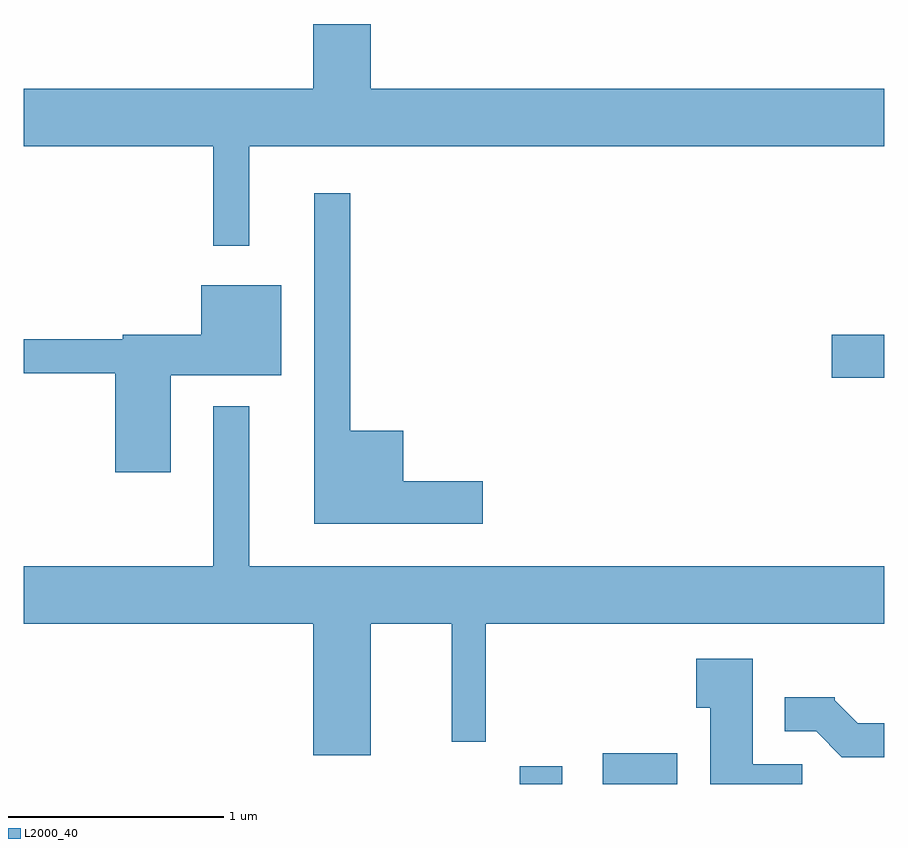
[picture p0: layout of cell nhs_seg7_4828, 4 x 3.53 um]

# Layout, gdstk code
import gdstk
lib = gdstk.Library(unit=1e-6, precision=1e-09)
def R(c, l, rs):  # rectangles x0, y0, x1, y1
    for r in rs: c.add(gdstk.rectangle(r[:2], r[2:], *l))
def P(c, l, *ps):  # polygons
    for p in ps: c.add(gdstk.Polygon(p, *l))
L2000_40 = (2000, 40)

nhs_seg7_4828 = lib.new_cell('nhs_seg7_4828')
R(nhs_seg7_4828, L2000_40, [(335.916,1700.252,336.114,1700.334), (336.303,1700.252,336.649,1700.394), (337.366,1702.141,337.611,1702.339)])
P(nhs_seg7_4828, L2000_40, [(334.659,1703.216),(337.611,1703.216),(337.611,1703.484),(335.224,1703.484),(335.224,1703.784),(334.956,1703.784),(334.956,1703.484),(333.611,1703.484),(333.611,1703.216),(334.491,1703.216),(334.491,1702.753),(334.659,1702.753)],
  [(335.744,1701.659),(335.374,1701.659),(335.374,1701.894),(335.129,1701.894),(335.129,1702.998),(334.961,1702.998),(334.961,1701.461),(335.744,1701.461)],
  [(334.294,1702.151),(334.809,1702.151),(334.809,1702.569),(334.436,1702.569),(334.436,1702.339),(334.071,1702.339),(334.071,1702.319),(333.611,1702.319),(333.611,1702.161),(334.036,1702.161),(334.036,1701.701),(334.294,1701.701)],
  [(335.224,1700.996),(335.601,1700.996),(335.601,1700.448),(335.759,1700.448),(335.759,1700.996),(337.611,1700.996),(337.611,1701.264),(334.659,1701.264),(334.659,1702.008),(334.491,1702.008),(334.491,1701.264),(333.611,1701.264),(333.611,1700.996),(334.956,1700.996),(334.956,1700.386),(335.224,1700.386)],
  [(337.229,1700.344),(336.999,1700.344),(336.999,1700.834),(336.736,1700.834),(336.736,1700.606),(336.801,1700.606),(336.801,1700.252),(337.229,1700.252)],
  [(337.611,1700.534),(337.487,1700.534),(337.38,1700.641),(337.38,1700.654),(337.148,1700.654),(337.148,1700.496),(337.294,1700.496),(337.414,1700.376),(337.611,1700.376)])

lib.write_gds('nhs_seg7_4828.gds')
